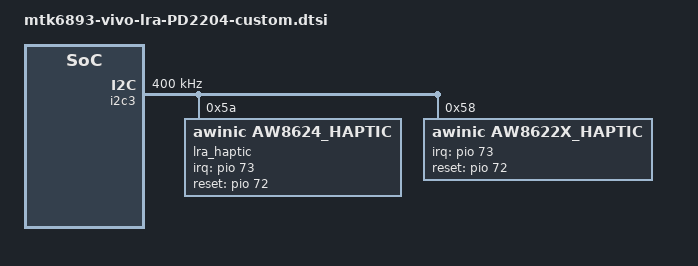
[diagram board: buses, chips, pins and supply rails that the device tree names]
/* vivo zhangxiaodong add for aw8624 haptic begin */

// for samsung

// If the hardware is pulled up, no configuration is required
&vibrator0{
status = "disable";
};

&pio {
	lra_int_active: lra_int_active {
		pins_cmd_dat {
			pinmux = <PINMUX_GPIO73__FUNC_GPIO73>;
			drive-strength = <2>;
			bias-pull-up;
			input-enable;
		};
	};
};

&i2c3 {
	status = "okay";
	#address-cells = <1>;
	#size-cells = <0>;
	clock-frequency = <400000>;
	mediatek,use-open-drain;

	lra_haptic@5A { // aw8624
		compatible = "awinic,aw8624_haptic";
		reg = <0x5A>;
		pinctrl-names = "default";
		pinctrl-0 = <&lra_int_active>; // INT
		irq-gpio = <&pio 73 0>;
		reset-gpio = <&pio 72 0>;
		status = "okay";
		resistance_min = <18000>;
		resistance_max = <35000>;
		freq_min = <2200>;
		freq_max = <2500>;
		lra_info = <832>;
		disable-trigger;
		awinic,vmax = <2500>;

		effect_list_aw862xx = <&vivo_lra_effects_aw862xx>;
		scene_array_aw862xx = <&vivo_lra_scenes_aw862xx>; //scene config list

		vivo_lra_effects_aw862xx: vivo_lra_effects_aw862xx {
			status = "okay";
			compatible = "vivo,lra_effects_aw8624";
		};

		vivo_lra_scenes_aw862xx: vivo_lra_scenes_aw862xx {
			status = "okay";
			compatible = "vivo,lra_scenes_aw8624";
		};

	};

	aw8622x_haptic@58 {
		compatible = "awinic,aw8622x_haptic";
		reg = <0x58>;
		pinctrl-names = "default";
		pinctrl-0 = <&lra_int_active>; // INT
		irq-gpio = <&pio 73 0>;
		reset-gpio = <&pio 72 0>;
		status = "okay";
		resistance_min = <18000>;
		resistance_max = <35000>;
		freq_min = <2200>;
		freq_max = <2500>;
		lra_info = <832>;
		//disable-trigger;
		effect,add-suffix;
		awinic,vmax = <2500>;

		/*aw8622x dts info*/
		aw8622x_vib_mode = < 0 >; /* mode: RAM mode->0; CONT mode->1 */
		aw8622x_vib_f0_pre = < 2350 >;
		aw8622x_vib_f0_cali_percen = < 7 >;
		aw8622x_vib_cont_drv1_lvl = < 0x7F >;
		aw8622x_vib_cont_drv2_lvl = < 0x36 >;
		aw8622x_vib_cont_brk_time = < 0x06 >;
		aw8622x_vib_cont_tset = < 0x06 >;
		aw8622x_vib_cont_bemf_set = < 0x02 >;
		aw8622x_vib_cont_drv_width = < 0x6A >;
		aw8622x_vib_cont_wait_num = < 0x06 >;
		aw8622x_vib_cont_brk_gain = < 0x08 >;
		aw8622x_vib_cont_drv1_time = < 0x04 >;
		aw8622x_vib_cont_drv2_time = < 0x14 >;
		aw8622x_vib_cont_track_margin = < 0x12 >;
		aw8622x_vib_sine_array = < 0x05 0xB2 0xFF 0xEF >; /* SIN_H SIN_L COS_H COS_L*/
		aw8622x_vib_d2s_gain = < 0x05 >;
		aw8622x_vib_prctmode = < 0x2D 0x3E 0x3F >;

		effect_list_aw862xx = <&vivo_lra_effects_aw862xx>;
		scene_array_aw862xx = <&vivo_lra_scenes_aw862xx>; //scene config list

//		vivo_lra_effects_aw862xx: vivo_lra_effects_aw862xx {
//			status = "okay";
//			compatible = "vivo,lra_effects_aw862xx";
//		};

//		vivo_lra_scenes_aw862xx: vivo_lra_scenes_aw862xx {
//			status = "okay";
//			compatible = "vivo,lra_scenes_aw862xx";
//		};

	};
};

#include "mtk6893-vivo-lra-PD2204-effects_aw862xx.dtsi"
